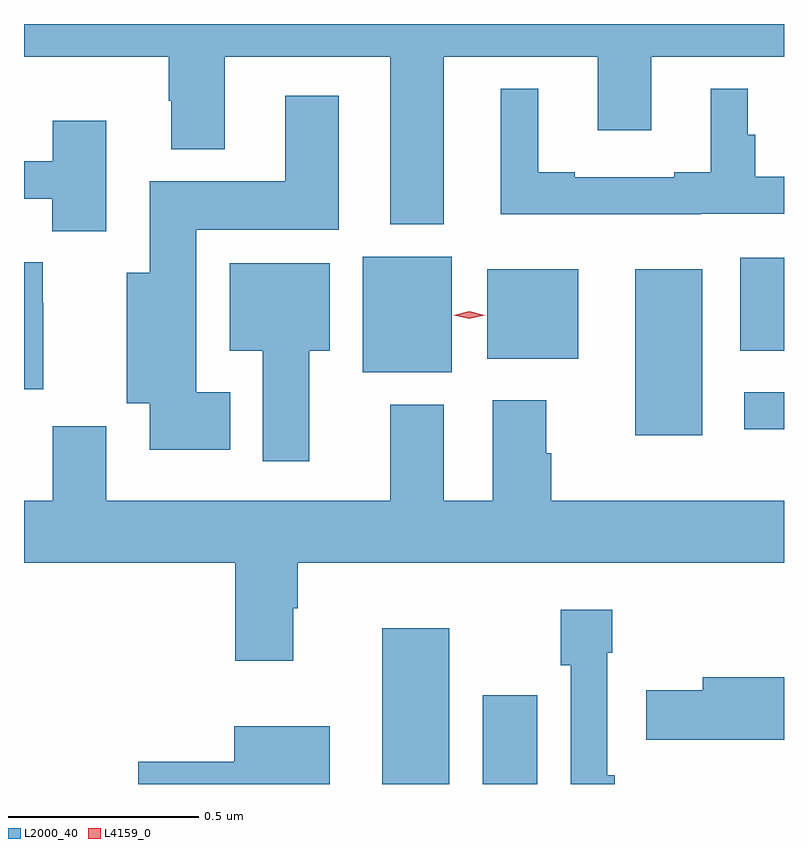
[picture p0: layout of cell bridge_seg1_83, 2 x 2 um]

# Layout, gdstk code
import gdstk
lib = gdstk.Library(unit=1e-6, precision=1e-09)
def R(c, l, rs):  # rectangles x0, y0, x1, y1
    for r in rs: c.add(gdstk.rectangle(r[:2], r[2:], *l))
def P(c, l, *ps):  # polygons
    for p in ps: c.add(gdstk.Polygon(p, *l))
L2000_40 = (2000, 40)
L4159_0 = (4159, 0)

bridge_seg1_83 = lib.new_cell('bridge_seg1_83')
R(bridge_seg1_83, L2000_40, [(578.45,573.794,578.626,574.204), (578.714,573.794,578.857,574.027), (579.116,574.712,579.292,575.149), (579.402,574.727,579.507,574.825), (578.399,574.877,578.632,575.182), (578.726,574.913,578.965,575.149), (579.392,574.934,579.507,575.179)])
P(bridge_seg1_83, L2000_40, [(578.611,575.708),(579.017,575.708),(579.017,575.514),(579.157,575.514),(579.157,575.708),(579.507,575.708),(579.507,575.794),(577.507,575.794),(577.507,575.708),(577.888,575.708),(577.888,575.592),(577.895,575.592),(577.895,575.465),(578.035,575.465),(578.035,575.708),(578.471,575.708),(578.471,575.267),(578.611,575.267)],
  [(579.288,575.295),(579.507,575.295),(579.507,575.392),(579.431,575.392),(579.431,575.502),(579.412,575.502),(579.412,575.623),(579.314,575.623),(579.314,575.404),(579.218,575.404),(579.218,575.391),(578.956,575.391),(578.956,575.404),(578.86,575.404),(578.86,575.623),(578.762,575.623),(578.762,575.294),(579.288,575.294)],
  [(578.05,574.825),(577.96,574.825),(577.96,575.252),(578.335,575.252),(578.335,575.605),(578.195,575.605),(578.195,575.38),(577.838,575.38),(577.838,575.14),(577.778,575.14),(577.778,574.796),(577.838,574.796),(577.838,574.673),(578.05,574.673)],
  [(577.723,575.539),(577.583,575.539),(577.583,575.433),(577.507,575.433),(577.507,575.334),(577.581,575.334),(577.581,575.249),(577.723,575.249)],
  [(577.558,575.06),(577.556,575.06),(577.556,575.167),(577.507,575.167),(577.507,574.833),(577.558,574.833)],
  [(578.257,574.934),(578.311,574.934),(578.311,575.164),(578.048,575.164),(578.048,574.934),(578.135,574.934),(578.135,574.644),(578.257,574.644)],
  [(578.215,574.256),(578.228,574.256),(578.228,574.376),(579.507,574.376),(579.507,574.54),(578.894,574.54),(578.894,574.664),(578.881,574.664),(578.881,574.804),(578.741,574.804),(578.741,574.54),(578.611,574.54),(578.611,574.792),(578.471,574.792),(578.471,574.54),(577.723,574.54),(577.723,574.735),(577.583,574.735),(577.583,574.54),(577.507,574.54),(577.507,574.376),(578.063,574.376),(578.063,574.119),(578.215,574.119)],
  [(579.062,573.817),(579.042,573.817),(579.042,574.139),(579.055,574.139),(579.055,574.252),(578.92,574.252),(578.92,574.107),(578.946,574.107),(578.946,573.794),(579.062,573.794)],
  [(579.507,574.075),(579.293,574.075),(579.293,574.041),(579.144,574.041),(579.144,573.911),(579.507,573.911)],
  [(578.311,573.946),(578.06,573.946),(578.06,573.853),(577.808,573.853),(577.808,573.794),(578.311,573.794)])
P(bridge_seg1_83, L4159_0, [(578.679,575.018),(578.638,575.028),(578.638,575.028),(578.638,575.028),(578.679,575.038),(578.72,575.028),(578.721,575.028),(578.72,575.028)])

lib.write_gds('bridge_seg1_83.gds')
